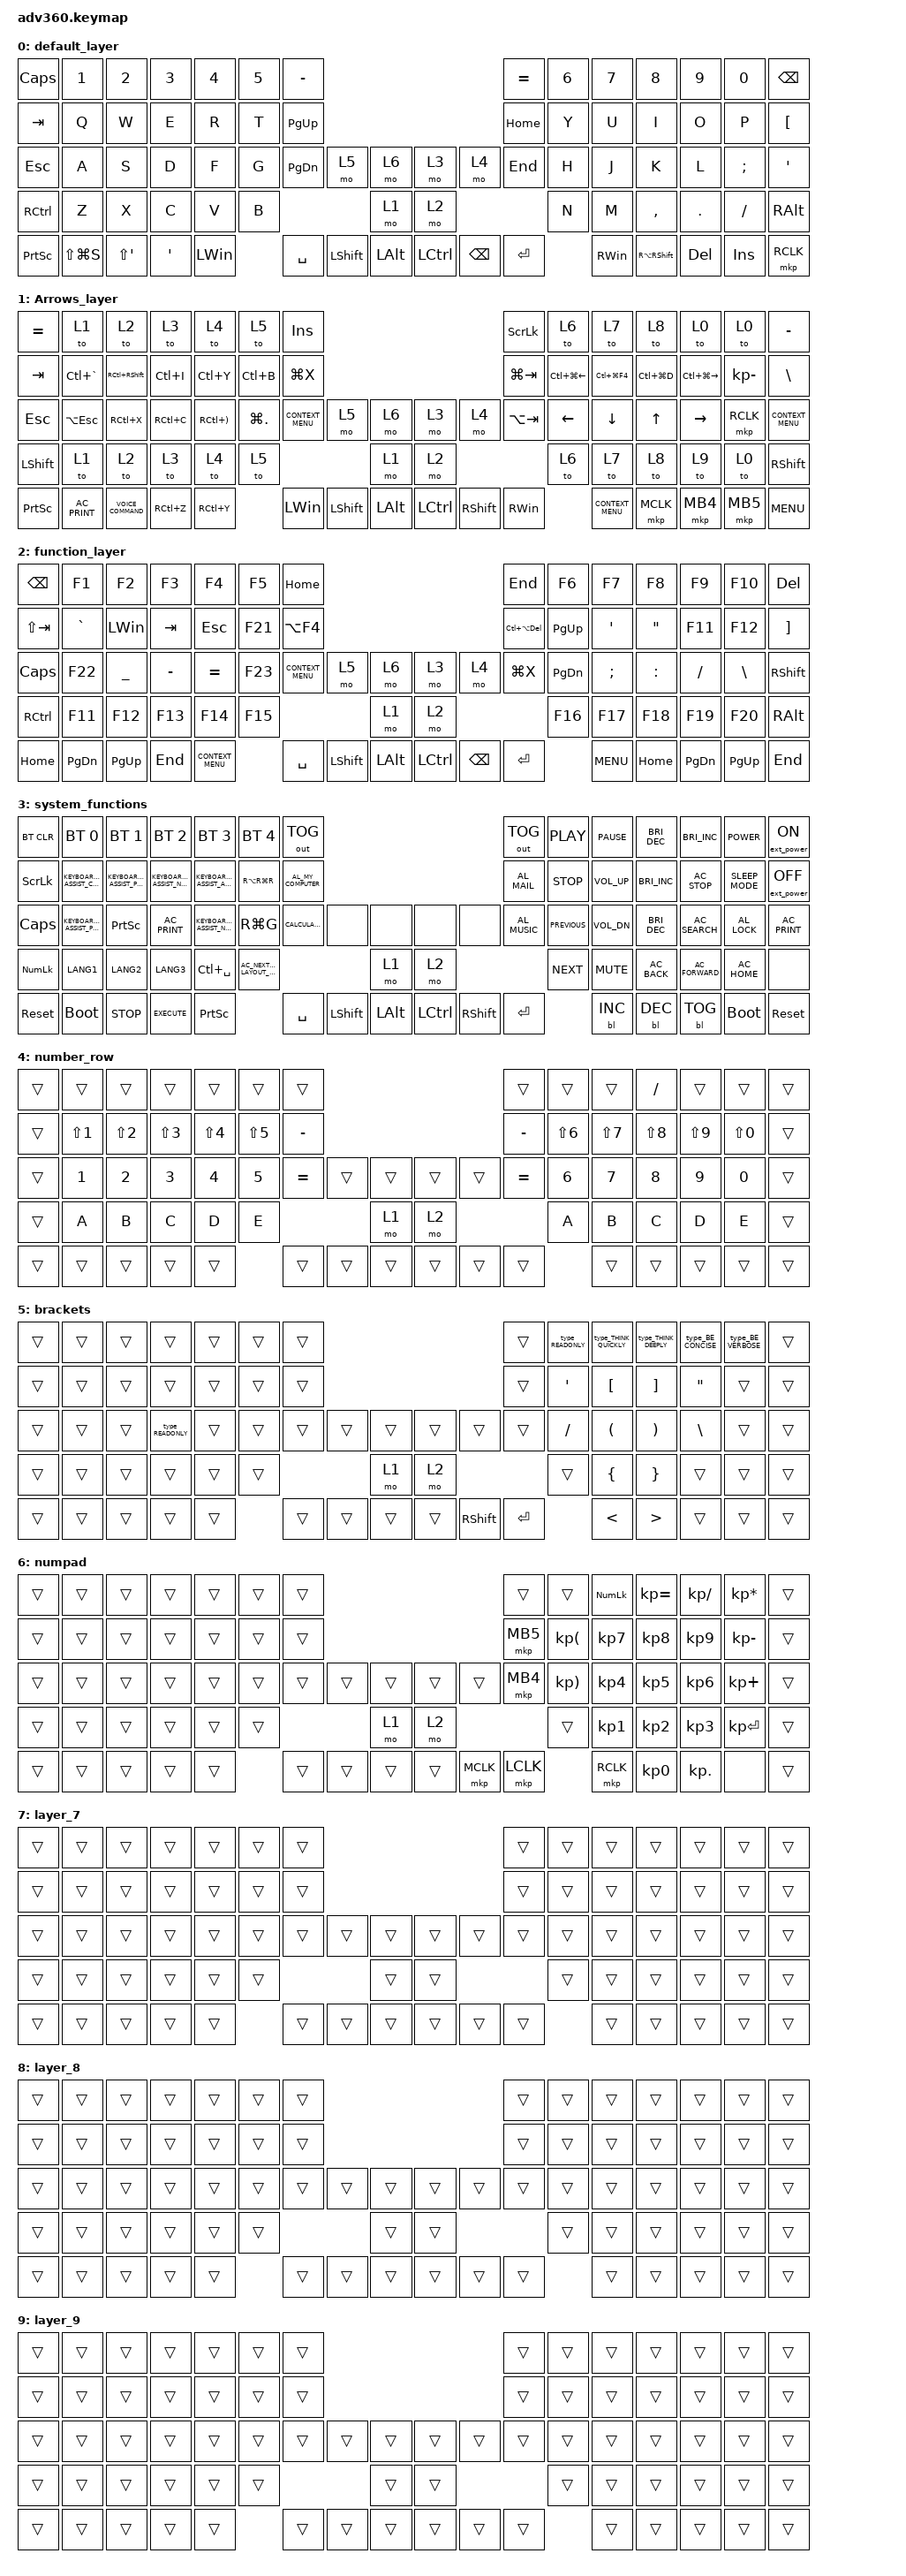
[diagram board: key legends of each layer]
/*
 * Copyright (c) 2020 The ZMK Contributors
 *
 * SPDX-License-Identifier: MIT
 */
/* THIS FILE WAS GENERATED!
 *
 * This file was generated automatically. You may or may not want to
 * edit it directly.
 */

#include <dt-bindings/zmk/mouse.h>
#include <behaviors.dtsi>
#include <dt-bindings/zmk/backlight.h>
#include <dt-bindings/zmk/bt.h>
#include <dt-bindings/zmk/ext_power.h>
#include <dt-bindings/zmk/keys.h>
#include <dt-bindings/zmk/outputs.h>
#include <dt-bindings/zmk/pointing.h>

/ {
    behaviors {
        #include "macros.dtsi"
    #include "version.dtsi"

        hm: homerow_mods {
            compatible = "zmk,behavior-hold-tap";
            label = "HOMEROW_MODS";
            #binding-cells = <2>;
            tapping-term-ms = <200>;
            quick_tap_ms = <175>;
            flavor = "tap-preferred";
            bindings = <&kp>, <&kp>;
        };
    };

    macros {
        type_READONLY: type_READONLY {
            compatible = "zmk,behavior-macro";
            #binding-cells = <0>;
            bindings = <&kp LS(R) &kp LS(E) &kp LS(A) &kp LS(D) &kp LS(O) &kp LS(N) &kp LS(L) &kp LS(Y)>;
            label = "TYPE_READONLY";
        };

        type_THINK_QUICKLY: type_THINK_QUICKLY {
            compatible = "zmk,behavior-macro";
            #binding-cells = <0>;
            bindings = <&kp LS(T) &kp LS(H) &kp LS(I) &kp LS(N) &kp LS(K) &kp SPACE &kp LS(Q) &kp LS(U) &kp LS(I) &kp LS(C) &kp LS(K) &kp LS(L) &kp LS(Y)>;
            label = "TYPE_THINK_QUICKLY";
        };

        type_THINK_DEEPLY: THINK_DEEPLY {
            compatible = "zmk,behavior-macro";
            #binding-cells = <0>;
            bindings = <&none &kp LS(T) &kp LS(H) &kp LS(I) &kp LS(N) &kp LS(K) &kp SPACE &kp LS(D) &kp LS(E) &kp LS(E) &kp LS(P) &kp LS(L) &kp LS(Y)>;
            label = "THINK_DEEPLY";
        };

        type_BE_CONCISE: type_BE_CONCISE {
            compatible = "zmk,behavior-macro";
            #binding-cells = <0>;
            bindings = <&none &kp LS(B) &kp LS(E) &kp SPACE &kp LS(C) &kp LS(O) &kp LS(N) &kp LS(C) &kp LS(I) &kp LS(S) &kp LS(E)>;
            label = "TYPE_BE_CONCISE";
        };

        type_BE_VERBOSE: type_BE_VERBOSE {
            compatible = "zmk,behavior-macro";
            #binding-cells = <0>;
            bindings = <&none &kp LS(B) &kp LS(E) &kp SPACE &kp LS(V) &kp LS(E) &kp LS(R) &kp LS(B) &kp LS(O) &kp LS(S) &kp LS(E)>;
            label = "TYPE_BE_VERBOSE";
        };
    };

    keymap {
        compatible = "zmk,keymap";

        default_layer {
            bindings = <
&kp CAPSLOCK       &kp N1         &kp N2                &kp N3   &kp N4        &kp N5  &kp MINUS                                                                         &kp EQUAL  &kp N6  &kp N7         &kp N8               &kp N9      &kp N0      &kp BACKSPACE
&kp TAB            &kp Q          &kp W                 &kp E    &kp R         &kp T   &kp PAGE_UP                                                                       &kp HOME   &kp Y   &kp U          &kp I                &kp O       &kp P       &kp LEFT_BRACKET
&kp ESC            &kp A          &kp S                 &kp D    &kp F         &kp G   &kp PAGE_DOWN  &mo 5           &mo 6             &mo 3             &mo 4          &kp END    &kp H   &kp J          &kp K                &kp L       &kp SEMI    &kp SQT
&kp RIGHT_CONTROL  &kp Z          &kp X                 &kp C    &kp V         &kp B                                  &mo 1             &mo 2                                       &kp N   &kp M          &kp COMMA            &kp DOT     &kp FSLH    &kp RIGHT_ALT
&kp PRINTSCREEN    &kp LS(LG(S))  &kp LS(SINGLE_QUOTE)  &kp SQT  &kp LEFT_WIN          &kp SPACE      &kp LEFT_SHIFT  &kp LEFT_ALT      &kp LEFT_CONTROL  &kp BACKSPACE  &kp ENTER          &kp RIGHT_WIN  &kp RA(RIGHT_SHIFT)  &kp DELETE  &kp INSERT  &mkp RCLK
            >;
        };

        Arrows_layer {
            bindings = <
&kp EQUAL        &to 1           &to 2                &to 3      &to 4                      &to 5           &kp INSERT                                                                               &kp SCROLLLOCK  &to 6                   &to 7               &to 8          &to 0              &to 0         &kp MINUS
&kp TAB          &kp LC(GRAVE)   &kp RC(RIGHT_SHIFT)  &kp LC(I)  &kp LC(Y)                  &kp LC(B)       &kp LG(X)                                                                                &kp LG(TAB)     &kp LC(LG(LEFT_ARROW))  &kp LC(LG(F4))      &kp LC(LG(D))  &kp LC(LG(RIGHT))  &kp KP_MINUS  &kp BSLH
&kp ESC          &kp LA(ESCAPE)  &kp RC(X)            &kp RC(C)  &kp RC(RIGHT_PARENTHESIS)  &kp LG(PERIOD)  &kp K_CONTEXT_MENU  &mo 5           &mo 6             &mo 3             &mo 4            &kp LA(TAB)     &kp LEFT_ARROW          &kp DOWN_ARROW      &kp UP_ARROW   &kp RIGHT_ARROW    &mkp RCLK     &kp K_CONTEXT_MENU
&kp LSHFT        &to 1           &to 2                &to 3      &to 4                      &to 5                                               &mo 1             &mo 2                                              &to 6                   &to 7               &to 8          &to 9              &to 0         &kp RSHFT
&kp PRINTSCREEN  &kp C_AC_PRINT  &kp C_VOICE_COMMAND  &kp RC(Z)  &kp RC(Y)                                  &kp LEFT_WIN        &kp LEFT_SHIFT  &kp LEFT_ALT      &kp LEFT_CONTROL  &kp RIGHT_SHIFT  &kp RIGHT_WIN                           &kp K_CONTEXT_MENU  &mkp MCLK      &mkp MB4           &mkp MB5      &kp C_MENU
            >;
        };

        function_layer {
            bindings = <
&kp BACKSPACE      &kp F1     &kp F2          &kp F3     &kp F4              &kp F5   &kp HOME                                                          &kp END          &kp F6         &kp F7         &kp F8             &kp F9     &kp F10        &kp DELETE
&kp LS(TAB)        &kp GRAVE  &kp LEFT_WIN    &kp TAB    &kp ESCAPE          &kp F21  &kp LA(F4)                                                        &kp LC(LA(DEL))  &kp PAGE_UP    &kp SQT        &kp DOUBLE_QUOTES  &kp F11    &kp F12        &kp RIGHT_BRACKET
&kp CAPSLOCK       &kp F22    &kp UNDERSCORE  &kp MINUS  &kp EQUAL           &kp F23  &kp K_CONTEXT_MENU  &mo 5      &mo 6         &mo 3      &mo 4     &kp LG(X)        &kp PAGE_DOWN  &kp SEMICOLON  &kp COLON          &kp SLASH  &kp BACKSLASH  &kp RIGHT_SHIFT
&kp RIGHT_CONTROL  &kp F11    &kp F12         &kp F13    &kp F14             &kp F15                                 &mo 1         &mo 2                                 &kp F16        &kp F17        &kp F18            &kp F19    &kp F20        &kp RIGHT_ALT
&kp HOME           &kp PG_DN  &kp PG_UP       &kp END    &kp K_CONTEXT_MENU           &kp SPACE           &kp LSHFT  &kp LALT      &kp LCTRL  &kp BSPC  &kp RET                         &kp C_MENU     &kp HOME           &kp PG_DN  &kp PG_UP      &kp END
            >;
        };

        system_functions {
            bindings = <
&bt BT_CLR      &bt BT_SEL 0                          &bt BT_SEL 1                          &bt BT_SEL 2                      &bt BT_SEL 3                            &bt BT_SEL 4                          &out OUT_TOG                                                         &out OUT_TOG    &kp C_PLAY      &kp C_PAUSE   &kp C_BRIGHTNESS_DEC  &kp C_BRIGHTNESS_INC  &kp C_POWER       &ext_power EP_ON
&kp SCROLLLOCK  &kp C_KEYBOARD_INPUT_ASSIST_CANCEL    &kp C_KEYBOARD_INPUT_ASSIST_PREVIOUS  &kp C_KEYBOARD_INPUT_ASSIST_NEXT  &kp C_KEYBOARD_INPUT_ASSIST_ACCEPT      &kp RA(RG(R))                         &kp C_AL_MY_COMPUTER                                                 &kp C_AL_MAIL   &kp C_STOP      &kp C_VOL_UP  &kp C_BRIGHTNESS_INC  &kp C_AC_STOP         &kp C_SLEEP_MODE  &ext_power EP_OFF
&kp CAPSLOCK    &kp C_KEYBOARD_INPUT_ASSIST_PREVIOUS  &kp PRINTSCREEN                       &kp C_AC_PRINT                    &kp C_KEYBOARD_INPUT_ASSIST_NEXT_GROUP  &kp RG(G)                             &kp K_CALCULATOR      &none      &none         &none      &none      &kp C_AL_MUSIC  &kp C_PREVIOUS  &kp C_VOL_DN  &kp C_BRIGHTNESS_DEC  &kp C_AC_SEARCH       &kp C_AL_LOCK     &kp C_AC_PRINT
&kp KP_NUMLOCK  &kp LANG1                             &kp LANG2                             &kp LANG3                         &kp LC(SPACE)                           &kp C_AC_NEXT_KEYBOARD_LAYOUT_SELECT                                   &mo 1         &mo 2                                 &kp C_NEXT      &kp C_MUTE    &kp C_AC_BACK         &kp C_AC_FORWARD      &kp C_AC_HOME     &none
&sys_reset      &bootloader                           &kp K_STOP                            &kp K_EXECUTE                     &kp PRINTSCREEN                                                               &kp SPACE             &kp LSHFT  &kp LALT      &kp LCTRL  &kp RSHFT  &kp RET                         &bl BL_INC    &bl BL_DEC            &bl BL_TOG            &bootloader       &sys_reset
            >;
        };

        number_row {
            bindings = <
&trans  &trans            &trans            &trans            &trans            &trans            &trans                                         &trans     &trans            &trans            &kp SLASH         &trans      &trans            &trans
&trans  &kp LS(NUMBER_1)  &kp LS(NUMBER_2)  &kp LS(NUMBER_3)  &kp LS(NUMBER_4)  &kp LS(NUMBER_5)  &kp MINUS                                      &kp MINUS  &kp LS(NUMBER_6)  &kp LS(NUMBER_7)  &kp LS(NUMBER_8)  &kp LS(N9)  &kp LS(NUMBER_0)  &trans
&trans  &kp NUMBER_1      &kp NUMBER_2      &kp NUMBER_3      &kp NUMBER_4      &kp N5            &kp EQUAL  &trans  &trans      &trans  &trans  &kp EQUAL  &kp NUMBER_6      &kp N7            &kp N8            &kp N9      &kp N0            &trans
&trans  &kp A             &kp B             &kp C             &kp D             &kp E                                &mo 1       &mo 2                      &kp A             &kp B             &kp C             &kp D       &kp E             &trans
&trans  &trans            &trans            &trans            &trans                              &trans     &trans  &trans      &trans  &trans  &trans                       &trans            &trans            &trans      &trans            &trans
            >;
        };

        brackets {
            bindings = <
&trans  &trans  &trans  &trans          &trans  &trans  &trans                                               &trans     &type_READONLY  &type_THINK_QUICKLY   &type_THINK_DEEPLY     &type_BE_CONCISE   &type_BE_VERBOSE  &trans
&trans  &trans  &trans  &trans          &trans  &trans  &trans                                               &trans     &kp SQT         &kp LEFT_BRACKET      &kp RIGHT_BRACKET      &kp DOUBLE_QUOTES  &trans            &trans
&trans  &trans  &trans  &type_READONLY  &trans  &trans  &trans  &trans  &trans      &trans  &trans           &trans     &kp SLASH       &kp LEFT_PARENTHESIS  &kp RIGHT_PARENTHESIS  &kp BACKSLASH      &trans            &trans
&trans  &trans  &trans  &trans          &trans  &trans                  &mo 1       &mo 2                               &trans          &kp LEFT_BRACE        &kp RIGHT_BRACE        &trans             &trans            &trans
&trans  &trans  &trans  &trans          &trans          &trans  &trans  &trans      &trans  &kp RIGHT_SHIFT  &kp ENTER                  &kp LESS_THAN         &kp GREATER_THAN       &trans             &trans            &trans
            >;
        };

        numpad {
            bindings = <
&trans  &trans  &trans  &trans  &trans  &trans  &trans                                         &trans     &trans                    &kp KP_NUM       &kp KP_EQUAL     &kp KP_DIVIDE    &kp KP_MULTIPLY  &trans
&trans  &trans  &trans  &trans  &trans  &trans  &trans                                         &mkp MB5   &kp KP_LEFT_PARENTHESIS   &kp KP_NUMBER_7  &kp KP_NUMBER_8  &kp KP_NUMBER_9  &kp KP_MINUS     &trans
&trans  &trans  &trans  &trans  &trans  &trans  &trans  &trans  &trans      &trans  &trans     &mkp MB4   &kp KP_RIGHT_PARENTHESIS  &kp KP_NUMBER_4  &kp KP_NUMBER_5  &kp KP_NUMBER_6  &kp KP_PLUS      &trans
&trans  &trans  &trans  &trans  &trans  &trans                  &mo 1       &mo 2                         &trans                    &kp KP_NUMBER_1  &kp KP_NUMBER_2  &kp KP_NUMBER_3  &kp KP_ENTER     &trans
&trans  &trans  &trans  &trans  &trans          &trans  &trans  &trans      &trans  &mkp MCLK  &mkp LCLK                            &mkp RCLK        &kp KP_NUMBER_0  &kp KP_DOT       &none            &trans
            >;
        };

        layer_7 {
            bindings = <
&trans  &trans  &trans  &trans  &trans  &trans  &trans                                      &trans  &trans  &trans  &trans  &trans  &trans  &trans
&trans  &trans  &trans  &trans  &trans  &trans  &trans                                      &trans  &trans  &trans  &trans  &trans  &trans  &trans
&trans  &trans  &trans  &trans  &trans  &trans  &trans  &trans  &trans      &trans  &trans  &trans  &trans  &trans  &trans  &trans  &trans  &trans
&trans  &trans  &trans  &trans  &trans  &trans                  &trans      &trans                  &trans  &trans  &trans  &trans  &trans  &trans
&trans  &trans  &trans  &trans  &trans          &trans  &trans  &trans      &trans  &trans  &trans          &trans  &trans  &trans  &trans  &trans
            >;
        };

        layer_8 {
            bindings = <
&trans  &trans  &trans  &trans  &trans  &trans  &trans                                      &trans  &trans  &trans  &trans  &trans  &trans  &trans
&trans  &trans  &trans  &trans  &trans  &trans  &trans                                      &trans  &trans  &trans  &trans  &trans  &trans  &trans
&trans  &trans  &trans  &trans  &trans  &trans  &trans  &trans  &trans      &trans  &trans  &trans  &trans  &trans  &trans  &trans  &trans  &trans
&trans  &trans  &trans  &trans  &trans  &trans                  &trans      &trans                  &trans  &trans  &trans  &trans  &trans  &trans
&trans  &trans  &trans  &trans  &trans          &trans  &trans  &trans      &trans  &trans  &trans          &trans  &trans  &trans  &trans  &trans
            >;
        };

        layer_9 {
            bindings = <
&trans  &trans  &trans  &trans  &trans  &trans  &trans                                      &trans  &trans  &trans  &trans  &trans  &trans  &trans
&trans  &trans  &trans  &trans  &trans  &trans  &trans                                      &trans  &trans  &trans  &trans  &trans  &trans  &trans
&trans  &trans  &trans  &trans  &trans  &trans  &trans  &trans  &trans      &trans  &trans  &trans  &trans  &trans  &trans  &trans  &trans  &trans
&trans  &trans  &trans  &trans  &trans  &trans                  &trans      &trans                  &trans  &trans  &trans  &trans  &trans  &trans
&trans  &trans  &trans  &trans  &trans          &trans  &trans  &trans      &trans  &trans  &trans          &trans  &trans  &trans  &trans  &trans
            >;
        };
    };
};
